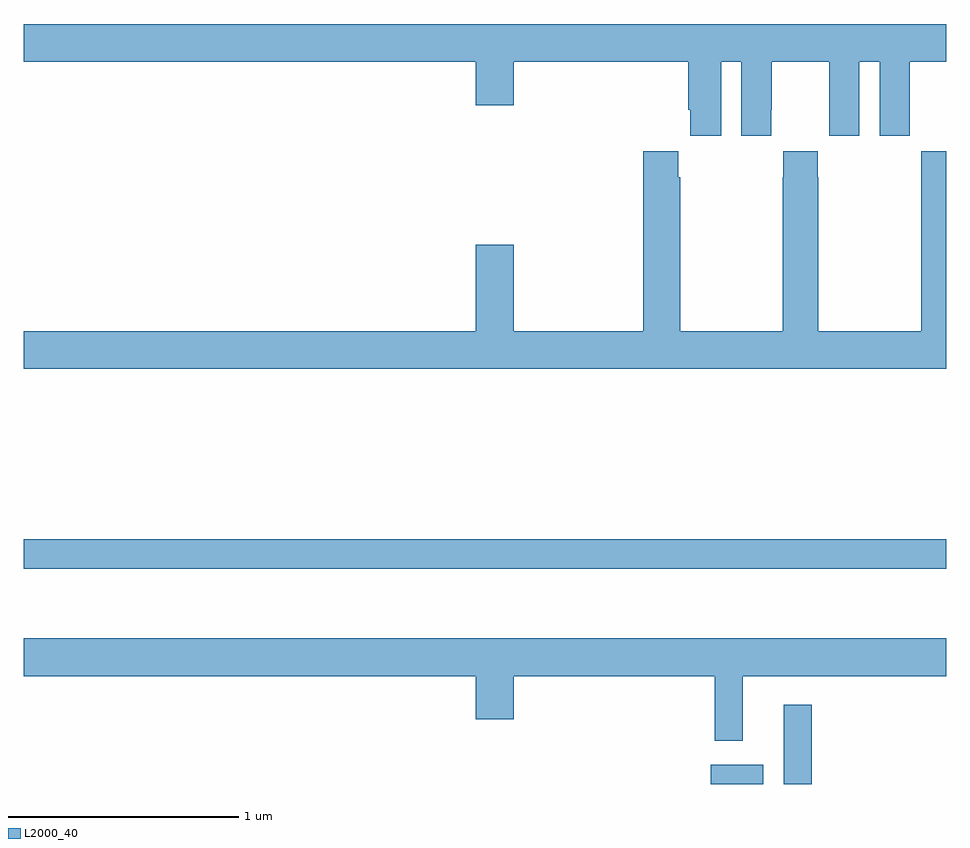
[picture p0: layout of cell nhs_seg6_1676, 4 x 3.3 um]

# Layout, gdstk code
import gdstk
lib = gdstk.Library(unit=1e-6, precision=1e-09)
def R(c, l, rs):  # rectangles x0, y0, x1, y1
    for r in rs: c.add(gdstk.rectangle(r[:2], r[2:], *l))
def P(c, l, *ps):  # polygons
    for p in ps: c.add(gdstk.Polygon(p, *l))
L2000_40 = (2000, 40)

nhs_seg6_1676 = lib.new_cell('nhs_seg6_1676')
R(nhs_seg6_1676, L2000_40, [(213.98,981.5,214.207,981.583), (214.295,981.5,214.417,981.844), (211,982.434,215,982.562)])
P(nhs_seg6_1676, L2000_40, [(211,984.632),(212.96,984.632),(212.96,984.444),(213.124,984.444),(213.124,984.632),(213.881,984.632),(213.881,984.424),(213.89,984.424),(213.89,984.312),(214.024,984.312),(214.024,984.632),(214.112,984.632),(214.112,984.312),(214.242,984.312),(214.242,984.424),(214.243,984.424),(214.243,984.632),(214.493,984.632),(214.493,984.424),(214.494,984.424),(214.494,984.312),(214.624,984.312),(214.624,984.632),(214.712,984.632),(214.712,984.312),(214.842,984.312),(214.842,984.424),(214.843,984.424),(214.843,984.632),(215,984.632),(215,984.796),(211,984.796)],
  [(215,984.244),(214.893,984.244),(214.893,984.131),(214.891,984.131),(214.891,983.464),(214.446,983.464),(214.446,984.131),(214.443,984.131),(214.443,984.244),(214.293,984.244),(214.293,984.131),(214.291,984.131),(214.291,983.464),(213.846,983.464),(213.846,984.131),(213.839,984.131),(213.839,984.244),(213.686,984.244),(213.686,983.464),(213.124,983.464),(213.124,983.839),(212.96,983.839),(212.96,983.464),(211,983.464),(211,983.3),(215,983.3)],
  [(214.117,981.968),(215,981.968),(215,982.132),(211,982.132),(211,981.968),(212.96,981.968),(212.96,981.78),(213.124,981.78),(213.124,981.968),(213.996,981.968),(213.996,981.687),(214.117,981.687)])

lib.write_gds('nhs_seg6_1676.gds')
